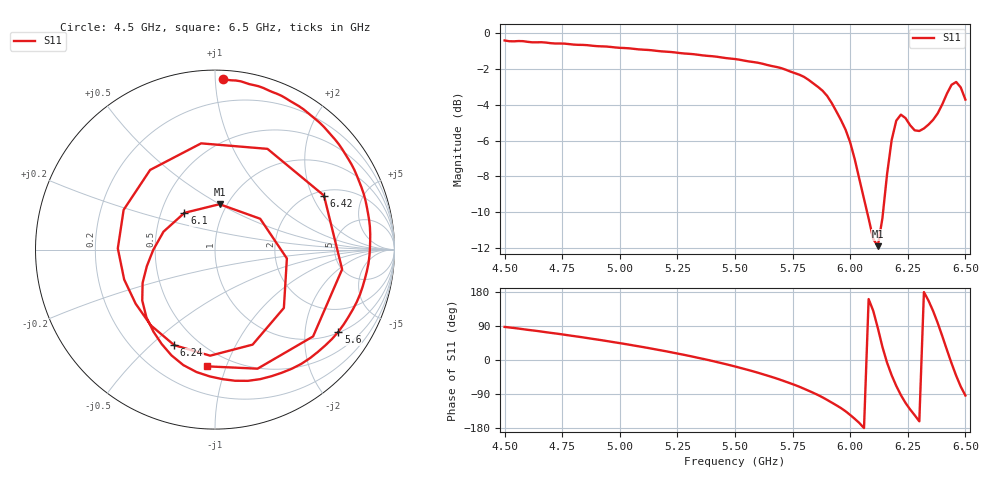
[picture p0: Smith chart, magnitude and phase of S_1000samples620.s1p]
! TOUCHSTONE file generated by CST MICROWAVE STUDIO
! Date and time: Fri Oct 28 19:20:31 2022
! Project name: L.cst
! Parameters = {Di=1.27; Epsilon_r=1.56; InnerDiameter=1.27; Length=2; Lf=10; Lg=60; OuterConductorThickness=0.2921; OuterDiameter=3.6; Wf=3; Wp=41.2; de=1.5; df=6.8; g=0.8; gx=3.37551; gy=2.94309; h=2.34; hf=1.524; px=10.0339; py=14.0097; w=9.7; wx=6.65835; wy=11.0666}
! Header version: 2018
! Port assignment regex: !\s*Touchstone port\s*([0-9]+)\s*=\s*(CST MWS port|CST DS port)\s*([0-9]+|Zmin|Zmax)\s*\(\"(.*)\"\)(\s*mode\s*([0-9]+))?.*
! Touchstone port assignment:
! Touchstone port 1 = CST MWS port 1 ("")
# GHz S DB R 50
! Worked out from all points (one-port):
!   101 points, 4.5 GHz to 6.5 GHz, reference 50 ohm
!   lowest |S11| = -11.9 dB at 6.12 GHz (marker M1), VSWR 1.68, Z = 46.1 + j25 ohm
!   |S11| at or under -10 dB: 6.074 GHz to 6.143 GHz (69 MHz wide, 1.13 % of centre)
!   S11 on the Smith chart (normalised r, x): 4.5 GHz: 0.05, +1.05; 5.6 GHz: 1.03, -2.98; 6.1 GHz: 0.66, +0.29; 6.24 GHz: 0.37, -0.59; 6.42 GHz: 2.21, +2.46; 6.5 GHz: 0.38, -0.86
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4.5  -0.42 87.3
4.76  -0.60 66.7
5  -0.83 44.5
5.26  -1.12 15.9
5.5  -1.46 -17.1
5.6  -1.66 -33.7
5.76  -2.24 -66.0
5.88  -3.22 -98.5
6  -6.11 -145.0
6.06  -9.26 -179.6
6.1  -11.49 129.8
6.12  -11.89 84.3
6.14  -10.32 34.3
6.16  -7.88 -7.0
6.18  -5.97 -40.3
6.2  -4.89 -68.4
6.24  -4.75 -113.1
6.26  -5.15 -130.3
6.3  -5.47 -161.8
6.34  -5.11 156.5
6.36  -4.85 129.1
6.38  -4.48 97.4
6.4  -3.97 62.5
6.42  -3.38 26.4
6.44  -2.89 -8.8
6.46  -2.74 -41.5
6.48  -3.04 -70.3
6.5  -3.72 -93.8
